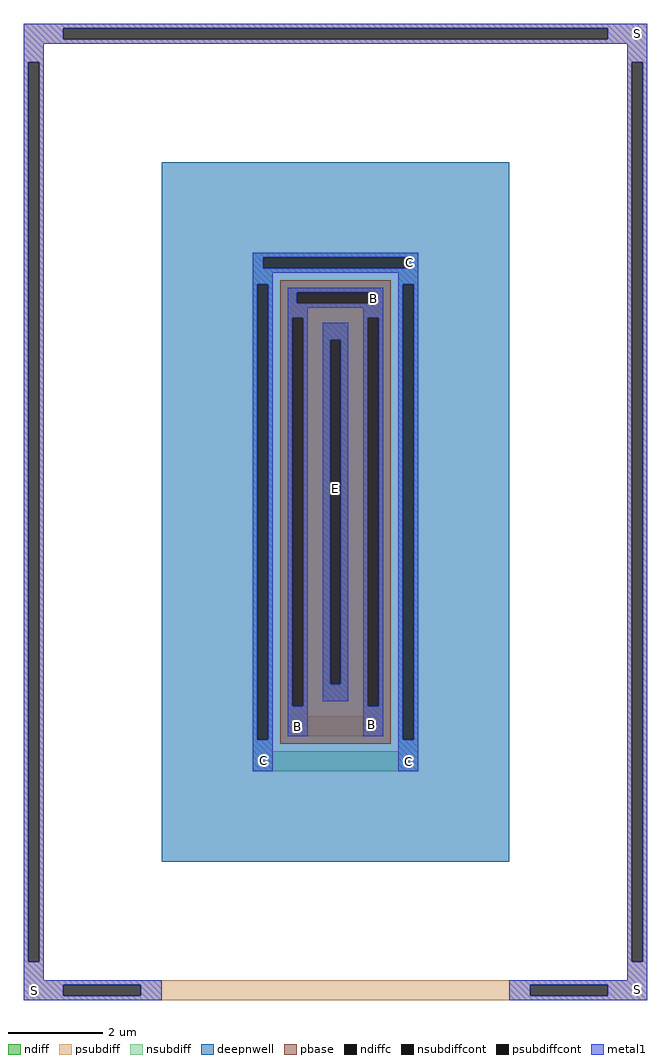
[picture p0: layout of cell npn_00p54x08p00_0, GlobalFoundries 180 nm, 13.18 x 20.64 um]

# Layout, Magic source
magic
tech gf180mcuD
magscale 1 10
<< deepnwell >>
rect -680 -680 788 2280
<< pbase >>
rect -180 -180 288 1780
<< ndiff >>
rect 0 1528 108 1600
rect 0 72 31 1528
rect 77 72 108 1528
rect 0 0 108 72
<< ndiffc >>
rect 31 72 77 1528
<< psubdiff >>
rect -1264 2845 1372 2864
rect -1264 2799 -1097 2845
rect 1205 2799 1372 2845
rect -1264 2780 1372 2799
rect -1264 2703 -1180 2780
rect -1264 -1103 -1245 2703
rect -1199 -1103 -1180 2703
rect 1288 2703 1372 2780
rect -148 1729 256 1748
rect -148 1683 -109 1729
rect 219 1683 256 1729
rect -148 1664 256 1683
rect -148 1622 -64 1664
rect -148 -22 -129 1622
rect -83 -22 -64 1622
rect 172 1622 256 1664
rect -148 -64 -64 -22
rect 172 -22 191 1622
rect 237 -22 256 1622
rect 172 -64 256 -22
rect -148 -148 256 -64
rect -1264 -1180 -1180 -1103
rect 1288 -1103 1307 2703
rect 1353 -1103 1372 2703
rect 1288 -1180 1372 -1103
rect -1264 -1199 1372 -1180
rect -1264 -1245 -1097 -1199
rect -769 -1245 877 -1199
rect 1205 -1245 1372 -1199
rect -1264 -1264 1372 -1245
<< nsubdiff >>
rect -296 1877 404 1896
rect -296 1831 -251 1877
rect 359 1831 404 1877
rect -296 1812 404 1831
rect -296 1763 -212 1812
rect -296 -163 -277 1763
rect -231 -163 -212 1763
rect 320 1763 404 1812
rect -296 -212 -212 -163
rect 320 -163 339 1763
rect 385 -163 404 1763
rect 320 -212 404 -163
rect -296 -296 404 -212
<< psubdiffcont >>
rect -1097 2799 1205 2845
rect -1245 -1103 -1199 2703
rect -109 1683 219 1729
rect -129 -22 -83 1622
rect 191 -22 237 1622
rect 1307 -1103 1353 2703
rect -1097 -1245 -769 -1199
rect 877 -1245 1205 -1199
<< nsubdiffcont >>
rect -251 1831 359 1877
rect -277 -163 -231 1763
rect 339 -163 385 1763
<< metal1 >>
rect -1264 2845 1372 2864
rect -1264 2799 -1097 2845
rect 1205 2799 1372 2845
rect -1264 2780 1372 2799
rect -1264 2703 -1180 2780
rect -1264 -1103 -1245 2703
rect -1199 -1103 -1180 2703
rect 1288 2703 1372 2780
rect -296 1877 404 1896
rect -296 1831 -251 1877
rect 359 1831 404 1877
rect -296 1812 404 1831
rect -296 1763 -212 1812
rect -296 -163 -277 1763
rect -231 -163 -212 1763
rect 320 1763 404 1812
rect -148 1729 256 1748
rect -148 1683 -109 1729
rect 219 1683 256 1729
rect -148 1664 256 1683
rect -148 1622 -64 1664
rect -148 -22 -129 1622
rect -83 -22 -64 1622
rect 172 1622 256 1664
rect 0 1528 108 1600
rect 0 72 31 1528
rect 77 72 108 1528
rect 0 0 108 72
rect -148 -148 -64 -22
rect 172 -22 191 1622
rect 237 -22 256 1622
rect 172 -148 256 -22
rect -296 -296 -212 -163
rect 320 -163 339 1763
rect 385 -163 404 1763
rect 320 -296 404 -163
rect -1264 -1180 -1180 -1103
rect 1288 -1103 1307 2703
rect 1353 -1103 1372 2703
rect 1288 -1180 1372 -1103
rect -1264 -1199 -680 -1180
rect -1264 -1245 -1097 -1199
rect -769 -1245 -680 -1199
rect -1264 -1264 -680 -1245
rect 788 -1199 1372 -1180
rect 788 -1245 877 -1199
rect 1205 -1245 1372 -1199
rect 788 -1264 1372 -1245
<< labels >>
flabel ndiffc 54 900 54 900 0 FreeSans 400 0 0 0 E
flabel metal1 -108 -106 -108 -106 0 FreeSans 400 0 0 0 B
flabel metal1 208 -100 208 -100 0 FreeSans 400 0 0 0 B
flabel psubdiffcont 213 1703 213 1703 0 FreeSans 400 0 0 0 B
flabel metal1 362 -255 362 -255 0 FreeSans 400 0 0 0 C
flabel metal1 365 1857 365 1857 0 FreeSans 400 0 0 0 C
flabel metal1 -252 -251 -252 -251 0 FreeSans 400 0 0 0 C
flabel metal1 1332 -1219 1332 -1219 0 FreeSans 400 0 0 0 S
flabel metal1 1332 -1219 1332 -1219 0 FreeSans 400 0 0 0 S
flabel metal1 1333 2824 1333 2824 0 FreeSans 400 0 0 0 S
flabel metal1 -1220 -1222 -1220 -1222 0 FreeSans 400 0 0 0 S
flabel metal1 -1220 -1222 -1220 -1222 0 FreeSans 400 0 0 0 S
<< properties >>
string GDS_END 17388
string GDS_FILE $PDKPATH/libs.ref/gf180mcu_fd_pr/gds/npn_00p54x08p00.gds
string GDS_START 112
string gencell npn_00p54x08p00
<< end >>
